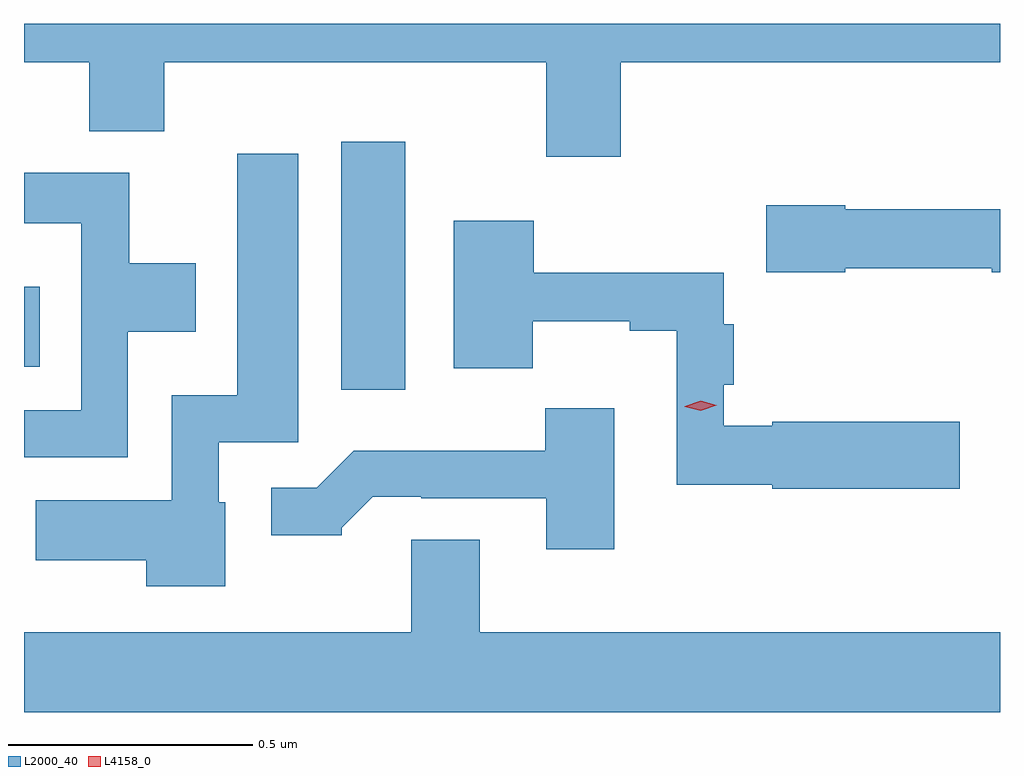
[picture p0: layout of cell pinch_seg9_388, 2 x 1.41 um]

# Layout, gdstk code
import gdstk
lib = gdstk.Library(unit=1e-6, precision=1e-09)
def R(c, l, rs):  # rectangles x0, y0, x1, y1
    for r in rs: c.add(gdstk.rectangle(r[:2], r[2:], *l))
def P(c, l, *ps):  # polygons
    for p in ps: c.add(gdstk.Polygon(p, *l))
L2000_40 = (2000, 40)
L4158_0 = (4158, 0)

pinch_seg9_388 = lib.new_cell('pinch_seg9_388')
R(pinch_seg9_388, L2000_40, [(372.257,1221.057,372.388,1221.565), (371.607,1221.104,371.639,1221.268)])
P(pinch_seg9_388, L2000_40, [(372.83,1221.728),(373.607,1221.728),(373.607,1221.807),(371.607,1221.807),(371.607,1221.728),(371.741,1221.728),(371.741,1221.587),(371.894,1221.587),(371.894,1221.728),(372.677,1221.728),(372.677,1221.534),(372.83,1221.534)],
  [(372.019,1220.826),(372.006,1220.826),(372.006,1220.949),(372.169,1220.949),(372.169,1221.541),(372.044,1221.541),(372.044,1221.046),(371.91,1221.046),(371.91,1220.83),(371.631,1220.83),(371.631,1220.708),(371.858,1220.708),(371.858,1220.654),(372.019,1220.654)],
  [(371.82,1221.176),(371.959,1221.176),(371.959,1221.316),(371.823,1221.316),(371.823,1221.502),(371.607,1221.502),(371.607,1221.398),(371.724,1221.398),(371.724,1221.015),(371.607,1221.015),(371.607,1220.919),(371.82,1220.919)],
  [(373.29,1221.306),(373.59,1221.306),(373.59,1221.298),(373.607,1221.298),(373.607,1221.427),(373.29,1221.427),(373.29,1221.435),(373.128,1221.435),(373.128,1221.298),(373.29,1221.298)],
  [(373.525,1220.991),(373.14,1220.991),(373.14,1220.983),(373.041,1220.983),(373.041,1221.067),(373.061,1221.067),(373.061,1221.191),(373.041,1221.191),(373.041,1221.297),(372.652,1221.297),(372.652,1221.403),(372.488,1221.403),(372.488,1221.101),(372.65,1221.101),(372.65,1221.197),(372.848,1221.197),(372.848,1221.178),(372.945,1221.178),(372.945,1220.862),(373.14,1220.862),(373.14,1220.854),(373.525,1220.854)],
  [(372.817,1221.019),(372.675,1221.019),(372.675,1220.932),(372.283,1220.932),(372.207,1220.856),(372.114,1220.856),(372.114,1220.759),(372.258,1220.759),(372.258,1220.774),(372.322,1220.838),(372.421,1220.838),(372.421,1220.835),(372.677,1220.835),(372.677,1220.73),(372.817,1220.73)],
  [(373.607,1220.56),(372.541,1220.56),(372.541,1220.75),(372.401,1220.75),(372.401,1220.56),(371.607,1220.56),(371.607,1220.396),(373.607,1220.396)])
P(pinch_seg9_388, L4158_0, [(372.994,1221.014),(372.961,1221.022),(372.961,1221.023),(372.961,1221.023),(372.994,1221.034),(373.027,1221.025),(373.027,1221.025),(373.027,1221.025)])

lib.write_gds('pinch_seg9_388.gds')
